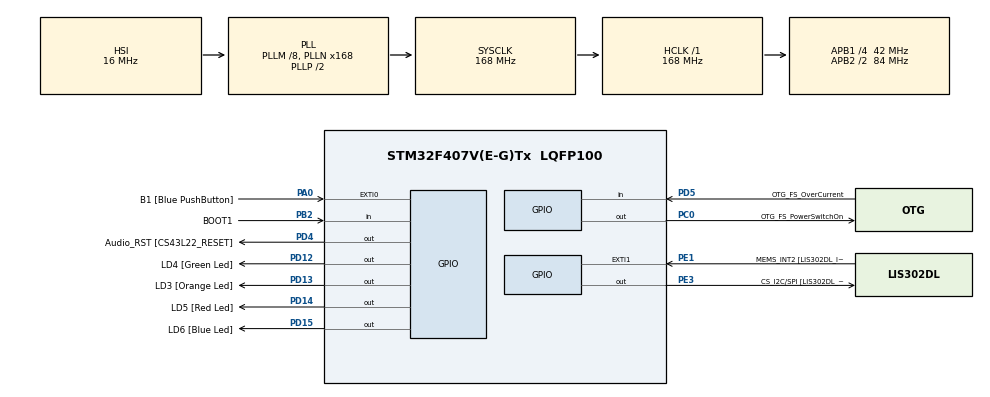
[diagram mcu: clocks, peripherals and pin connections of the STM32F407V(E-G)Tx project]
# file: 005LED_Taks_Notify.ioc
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Mcu.Family=STM32F4
Mcu.Name=STM32F407V(E-G)Tx
Mcu.Package=LQFP100
NVIC.PriorityGroup=NVIC_PRIORITYGROUP_4
NVIC.TIM6_DAC_IRQn=true\:0\:0\:false\:false\:true\:false\:true\:true
NVIC.TimeBase=TIM6_DAC_IRQn
NVIC.TimeBaseIP=TIM6
PA0-WKUP.GPIO_Label=B1 [Blue PushButton]
PA0-WKUP.Signal=GPXTI0
PA10.GPIO_Label=OTG_FS_ID
PA10.GPIO_Mode=GPIO_MODE_AF_PP
PA10.GPIO_PuPd=GPIO_NOPULL
PA10.GPIO_Speed=GPIO_SPEED_FREQ_LOW
PA10.Signal=USB_OTG_FS_ID
PA11.GPIO_Label=OTG_FS_DM
PA11.GPIO_Mode=GPIO_MODE_AF_PP
PA11.GPIO_PuPd=GPIO_NOPULL
PA11.GPIO_Speed=GPIO_SPEED_FREQ_LOW
PA11.Signal=USB_OTG_FS_DM
PA12.GPIO_Label=OTG_FS_DP
PA12.GPIO_Mode=GPIO_MODE_AF_PP
PA12.GPIO_PuPd=GPIO_NOPULL
PA12.GPIO_Speed=GPIO_SPEED_FREQ_LOW
PA12.Signal=USB_OTG_FS_DP
PA13.GPIO_Label=SWDIO
PA13.Signal=SYS_JTMS-SWDIO
PA14.GPIO_Label=SWCLK
PA14.Signal=SYS_JTCK-SWCLK
PA4.GPIO_Label=I2S3_WS [CS43L22_LRCK]
PA4.GPIO_Mode=GPIO_MODE_AF_PP
PA4.GPIO_PuPd=GPIO_NOPULL
PA4.GPIO_Speed=GPIO_SPEED_FREQ_LOW
PA4.Signal=I2S3_WS
PA5.GPIO_Label=SPI1_SCK [LIS302DL_SCL/SPC]
PA5.GPIO_Mode=GPIO_MODE_AF_PP
PA5.GPIO_PuPd=GPIO_NOPULL
PA5.GPIO_Speed=GPIO_SPEED_FREQ_LOW
PA5.Signal=SPI1_SCK
PA6.GPIO_Label=SPI1_MISO [LIS302DL_SDO]
PA6.GPIO_Mode=GPIO_MODE_AF_PP
PA6.GPIO_PuPd=GPIO_NOPULL
PA6.GPIO_Speed=GPIO_SPEED_FREQ_LOW
PA6.Signal=SPI1_MISO
PA7.GPIO_Label=SPI1_MOSI [LIS302DL_SDA/SDI/SDO]
PA7.GPIO_Mode=GPIO_MODE_AF_PP
PA7.GPIO_PuPd=GPIO_NOPULL
PA7.GPIO_Speed=GPIO_SPEED_FREQ_LOW
PA7.Signal=SPI1_MOSI
PA9.GPIO_Label=VBUS_FS
PA9.GPIO_Mode=GPIO_MODE_INPUT
PA9.GPIO_PuPd=GPIO_NOPULL
PA9.Signal=USB_OTG_FS_VBUS
PB10.GPIO_Label=CLK_IN [MP45DT02_CLK]
PB10.GPIO_Mode=GPIO_MODE_AF_PP
PB10.GPIO_PuPd=GPIO_NOPULL
PB10.GPIO_Speed=GPIO_SPEED_FREQ_LOW
PB10.Signal=I2S2_CK
PB2.GPIO_Label=BOOT1
PB2.GPIO_Mode=GPIO_MODE_INPUT
PB2.GPIO_PuPd=GPIO_NOPULL
PB2.Signal=GPIO_Input
PB3.GPIO_Label=SWO
PB3.Signal=SYS_JTDO-SWO
PB6.GPIO_Label=Audio_SCL [CS43L22_SCL]
PB6.GPIO_Mode=GPIO_MODE_AF_OD
PB6.GPIO_PuPd=GPIO_NOPULL
PB6.GPIO_Speed=GPIO_SPEED_FREQ_LOW
PB6.Signal=I2C1_SCL
PB9.GPIO_Label=Audio_SDA [CS43L22_SDA]
PB9.GPIO_Mode=GPIO_MODE_AF_OD
PB9.GPIO_PuPd=GPIO_NOPULL
PB9.GPIO_Speed=GPIO_SPEED_FREQ_LOW
PB9.Signal=I2C1_SDA
PC0.GPIO_Label=OTG_FS_PowerSwitchOn
PC0.GPIO_PuPd=GPIO_NOPULL
PC0.GPIO_Speed=GPIO_SPEED_FREQ_LOW
PC0.PinState=GPIO_PIN_SET
PC0.Signal=GPIO_Output
PC10.GPIO_Label=I2S3_SCK [CS43L22_SCLK]
PC10.GPIO_Mode=GPIO_MODE_AF_PP
PC10.GPIO_PuPd=GPIO_NOPULL
PC10.GPIO_Speed=GPIO_SPEED_FREQ_LOW
PC10.Signal=I2S3_CK
PC12.GPIO_Label=I2S3_SD [CS43L22_SDIN]
PC12.GPIO_Mode=GPIO_MODE_AF_PP
PC12.GPIO_PuPd=GPIO_NOPULL
PC12.GPIO_Speed=GPIO_SPEED_FREQ_LOW
PC12.Signal=I2S3_SD
PC14-OSC32_IN.GPIO_Label=PC14-OSC32_IN
PC14-OSC32_IN.Signal=RCC_OSC32_IN
PC15-OSC32_OUT.GPIO_Label=PC15-OSC32_OUT
PC15-OSC32_OUT.Signal=RCC_OSC32_OUT
PC3.GPIO_Label=PDM_OUT [MP45DT02_DOUT]
PC3.GPIO_Mode=GPIO_MODE_AF_PP
PC3.GPIO_PuPd=GPIO_NOPULL
PC3.GPIO_Speed=GPIO_SPEED_FREQ_LOW
PC3.Signal=I2S2_SD
PC7.GPIO_Label=I2S3_MCK [CS43L22_MCLK]
PC7.GPIO_Mode=GPIO_MODE_AF_PP
PC7.GPIO_PuPd=GPIO_NOPULL
PC7.GPIO_Speed=GPIO_SPEED_FREQ_LOW
PC7.Signal=I2S3_MCK
PD12.GPIO_Label=LD4 [Green Led]
PD12.GPIO_PuPd=GPIO_NOPULL
PD12.GPIO_Speed=GPIO_SPEED_FREQ_LOW
PD12.Signal=GPIO_Output
PD13.GPIO_Label=LD3 [Orange Led]
PD13.GPIO_PuPd=GPIO_NOPULL
PD13.GPIO_Speed=GPIO_SPEED_FREQ_LOW
PD13.Signal=GPIO_Output
PD14.GPIO_Label=LD5 [Red Led]
PD14.GPIO_PuPd=GPIO_NOPULL
PD14.GPIO_Speed=GPIO_SPEED_FREQ_LOW
PD14.Signal=GPIO_Output
PD15.GPIO_Label=LD6 [Blue Led]
PD15.GPIO_PuPd=GPIO_NOPULL
PD15.GPIO_Speed=GPIO_SPEED_FREQ_LOW
PD15.Signal=GPIO_Output
PD4.GPIO_Label=Audio_RST [CS43L22_RESET]
PD4.GPIO_PuPd=GPIO_NOPULL
PD4.GPIO_Speed=GPIO_SPEED_FREQ_LOW
PD4.Signal=GPIO_Output
PD5.GPIO_Label=OTG_FS_OverCurrent
PD5.GPIO_Mode=GPIO_MODE_INPUT
PD5.GPIO_PuPd=GPIO_NOPULL
PD5.Signal=GPIO_Input
PE1.GPIO_Label=MEMS_INT2 [LIS302DL_INT2]
PE1.GPIO_ModeDefaultEXTI=GPIO_MODE_EVT_RISING
PE1.GPIO_PuPd=GPIO_NOPULL
PE1.Signal=GPXTI1
PE3.GPIO_Label=CS_I2C/SPI [LIS302DL_CS_I2C/SPI]
PE3.GPIO_PuPd=GPIO_NOPULL
PE3.GPIO_Speed=GPIO_SPEED_FREQ_LOW
PE3.Signal=GPIO_Output
PH0-OSC_IN.GPIO_Label=PH0-OSC_IN
PH0-OSC_IN.Signal=RCC_OSC_IN
PH1-OSC_OUT.GPIO_Label=PH1-OSC_OUT
PH1-OSC_OUT.Signal=RCC_OSC_OUT
ProjectManager.HeapSize=0x200
ProjectManager.StackSize=0x400
ProjectManager.TargetToolchain=STM32CubeIDE
RCC.48MHZClocksFreq_Value=48000000
RCC.AHBFreq_Value=168000000
RCC.APB1CLKDivider=RCC_HCLK_DIV4
RCC.APB1Freq_Value=42000000
RCC.APB1TimFreq_Value=84000000
RCC.APB2CLKDivider=RCC_HCLK_DIV2
RCC.APB2Freq_Value=84000000
RCC.APB2TimFreq_Value=168000000
RCC.CortexFreq_Value=168000000
RCC.HCLKFreq_Value=168000000
RCC.HSE_VALUE=8000000
RCC.HSI_VALUE=16000000
RCC.LSE_VALUE=32768
RCC.PLLM=8
RCC.PLLN=168
RCC.PLLQ=7
RCC.SYSCLKFreq_VALUE=168000000
RCC.SYSCLKSource=RCC_SYSCLKSOURCE_PLLCLK
RCC.VCOOutputFreq_Value=336000000
VP_SYS_VS_tim6.Mode=TIM6
board=STM32F407G-DISC1

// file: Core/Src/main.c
/* USER CODE BEGIN Header */
/**
  ******************************************************************************
  * @file           : main.c
  * @brief          : Main program body
  ******************************************************************************
  * @attention
  *
  * Copyright (c) 2024 STMicroelectronics.
  * All rights reserved.
  *
  * This software is licensed under terms that can be found in the LICENSE file
  * in the root directory of this software component.
  * If no LICENSE file comes with this software, it is provided AS-IS.
  *
  ******************************************************************************
  */
/* USER CODE END Header */
#include "main.h"

/* USER CODE BEGIN Includes */
#include <stdio.h>
#include "FreeRTOS.h"
#include "task.h"
/* USER CODE END Includes */

/* USER CODE BEGIN PD */
#define DWT_CTRL	(*(volatile uint32_t*)0xE0001000)
/* USER CODE END PD */

void SystemClock_Config(void);
static void MX_GPIO_Init(void);
/* USER CODE BEGIN PFP */

static void led_green_handler(void* parameters);
static void led_red_handler(void* parameters);
static void led_orange_handler(void* parameters);
static void button_handler(void* parameters);

extern  void SEGGER_UART_init(uint32_t);

TaskHandle_t ledg_task_handle;
TaskHandle_t ledo_task_handle;
TaskHandle_t ledr_task_handle;
TaskHandle_t btn_task_handle;

TaskHandle_t volatile next_task_handle = NULL;

/* USER CODE END PFP */

int main(void)
{
  /* USER CODE BEGIN 1 */

  BaseType_t status;
  /* USER CODE END 1 */

  /* MCU Configuration--------------------------------------------------------*/

  /* Reset of all peripherals, Initializes the Flash interface and the Systick. */
  HAL_Init();

  /* Configure the system clock */
  SystemClock_Config();

  /* Initialize all configured peripherals */
  MX_GPIO_Init();
  /* USER CODE BEGIN 2 */

  DWT->CYCCNT = 0;

  DWT->CTRL |= DWT_CTRL_CYCCNTENA_Msk;

  SEGGER_UART_init(250000);

  SEGGER_SYSVIEW_Conf();

  status = xTaskCreate(led_green_handler, "LED_green_task", 200, NULL, 3, &ledg_task_handle);

  configASSERT(status == pdPASS);

  next_task_handle = ledg_task_handle;

  status = xTaskCreate(led_red_handler, "LED_red_task", 200, NULL, 1, &ledr_task_handle);

  configASSERT(status == pdPASS);

  status = xTaskCreate(led_orange_handler, "LED_orange_task", 200, NULL, 2, &ledo_task_handle);

  configASSERT(status == pdPASS);

  status = xTaskCreate(button_handler, "Button task", 200, NULL, 4, &btn_task_handle);

  configASSERT(status == pdPASS);

  vTaskStartScheduler();

  /* USER CODE END 2 */

  /* Infinite loop */
  while (1)
  {

  }
}

void SystemClock_Config(void)
{
  RCC_OscInitTypeDef RCC_OscInitStruct = {0};
  RCC_ClkInitTypeDef RCC_ClkInitStruct = {0};

  /** Configure the main internal regulator output voltage
  */
  __HAL_RCC_PWR_CLK_ENABLE();
  __HAL_PWR_VOLTAGESCALING_CONFIG(PWR_REGULATOR_VOLTAGE_SCALE1);

  /** Initializes the RCC Oscillators according to the specified parameters
  * in the RCC_OscInitTypeDef structure.
  */
  RCC_OscInitStruct.OscillatorType = RCC_OSCILLATORTYPE_HSI;
  RCC_OscInitStruct.HSIState = RCC_HSI_ON;
  RCC_OscInitStruct.HSICalibrationValue = RCC_HSICALIBRATION_DEFAULT;
  RCC_OscInitStruct.PLL.PLLState = RCC_PLL_ON;
  RCC_OscInitStruct.PLL.PLLSource = RCC_PLLSOURCE_HSI;
  RCC_OscInitStruct.PLL.PLLM = 8;
  RCC_OscInitStruct.PLL.PLLN = 168;
  RCC_OscInitStruct.PLL.PLLP = RCC_PLLP_DIV2;
  RCC_OscInitStruct.PLL.PLLQ = 7;
  if (HAL_RCC_OscConfig(&RCC_OscInitStruct) != HAL_OK)
  {
    Error_Handler();
  }

  /** Initializes the CPU, AHB and APB buses clocks
  */
  RCC_ClkInitStruct.ClockType = RCC_CLOCKTYPE_HCLK|RCC_CLOCKTYPE_SYSCLK
                              |RCC_CLOCKTYPE_PCLK1|RCC_CLOCKTYPE_PCLK2;
  RCC_ClkInitStruct.SYSCLKSource = RCC_SYSCLKSOURCE_PLLCLK;
  RCC_ClkInitStruct.AHBCLKDivider = RCC_SYSCLK_DIV1;
  RCC_ClkInitStruct.APB1CLKDivider = RCC_HCLK_DIV4;
  RCC_ClkInitStruct.APB2CLKDivider = RCC_HCLK_DIV2;

  if (HAL_RCC_ClockConfig(&RCC_ClkInitStruct, FLASH_LATENCY_5) != HAL_OK)
  {
    Error_Handler();
  }
}

static void MX_GPIO_Init(void)
{
  GPIO_InitTypeDef GPIO_InitStruct = {0};

  /* GPIO Ports Clock Enable */
  __HAL_RCC_GPIOE_CLK_ENABLE();
  __HAL_RCC_GPIOC_CLK_ENABLE();
  __HAL_RCC_GPIOH_CLK_ENABLE();
  __HAL_RCC_GPIOA_CLK_ENABLE();
  __HAL_RCC_GPIOB_CLK_ENABLE();
  __HAL_RCC_GPIOD_CLK_ENABLE();

  /*Configure GPIO pin Output Level */
  HAL_GPIO_WritePin(CS_I2C_SPI_GPIO_Port, CS_I2C_SPI_Pin, GPIO_PIN_RESET);

  /*Configure GPIO pin Output Level */
  HAL_GPIO_WritePin(OTG_FS_PowerSwitchOn_GPIO_Port, OTG_FS_PowerSwitchOn_Pin, GPIO_PIN_SET);

  /*Configure GPIO pin Output Level */
  HAL_GPIO_WritePin(GPIOD, LD4_Pin|LD3_Pin|LD5_Pin|LD6_Pin
                          |Audio_RST_Pin, GPIO_PIN_RESET);

  /*Configure GPIO pin : CS_I2C_SPI_Pin */
  GPIO_InitStruct.Pin = CS_I2C_SPI_Pin;
  GPIO_InitStruct.Mode = GPIO_MODE_OUTPUT_PP;
  GPIO_InitStruct.Pull = GPIO_NOPULL;
  GPIO_InitStruct.Speed = GPIO_SPEED_FREQ_LOW;
  HAL_GPIO_Init(CS_I2C_SPI_GPIO_Port, &GPIO_InitStruct);

  /*Configure GPIO pin : OTG_FS_PowerSwitchOn_Pin */
  GPIO_InitStruct.Pin = OTG_FS_PowerSwitchOn_Pin;
  GPIO_InitStruct.Mode = GPIO_MODE_OUTPUT_PP;
  GPIO_InitStruct.Pull = GPIO_NOPULL;
  GPIO_InitStruct.Speed = GPIO_SPEED_FREQ_LOW;
  HAL_GPIO_Init(OTG_FS_PowerSwitchOn_GPIO_Port, &GPIO_InitStruct);

  /*Configure GPIO pin : PDM_OUT_Pin */
  GPIO_InitStruct.Pin = PDM_OUT_Pin;
  GPIO_InitStruct.Mode = GPIO_MODE_AF_PP;
  GPIO_InitStruct.Pull = GPIO_NOPULL;
  GPIO_InitStruct.Speed = GPIO_SPEED_FREQ_LOW;
  GPIO_InitStruct.Alternate = GPIO_AF5_SPI2;
  HAL_GPIO_Init(PDM_OUT_GPIO_Port, &GPIO_InitStruct);

  /*Configure GPIO pin : B1_Pin */
  GPIO_InitStruct.Pin = B1_Pin;
  GPIO_InitStruct.Mode = GPIO_MODE_IT_RISING;
  GPIO_InitStruct.Pull = GPIO_NOPULL;
  HAL_GPIO_Init(B1_GPIO_Port, &GPIO_InitStruct);

  /*Configure GPIO pin : I2S3_WS_Pin */
  GPIO_InitStruct.Pin = I2S3_WS_Pin;
  GPIO_InitStruct.Mode = GPIO_MODE_AF_PP;
  GPIO_InitStruct.Pull = GPIO_NOPULL;
  GPIO_InitStruct.Speed = GPIO_SPEED_FREQ_LOW;
  GPIO_InitStruct.Alternate = GPIO_AF6_SPI3;
  HAL_GPIO_Init(I2S3_WS_GPIO_Port, &GPIO_InitStruct);

  /*Configure GPIO pins : SPI1_SCK_Pin SPI1_MISO_Pin SPI1_MOSI_Pin */
  GPIO_InitStruct.Pin = SPI1_SCK_Pin|SPI1_MISO_Pin|SPI1_MOSI_Pin;
  GPIO_InitStruct.Mode = GPIO_MODE_AF_PP;
  GPIO_InitStruct.Pull = GPIO_NOPULL;
  GPIO_InitStruct.Speed = GPIO_SPEED_FREQ_LOW;
  GPIO_InitStruct.Alternate = GPIO_AF5_SPI1;
  HAL_GPIO_Init(GPIOA, &GPIO_InitStruct);

  /*Configure GPIO pin : BOOT1_Pin */
  GPIO_InitStruct.Pin = BOOT1_Pin;
  GPIO_InitStruct.Mode = GPIO_MODE_INPUT;
  GPIO_InitStruct.Pull = GPIO_NOPULL;
  HAL_GPIO_Init(BOOT1_GPIO_Port, &GPIO_InitStruct);

  /*Configure GPIO pin : CLK_IN_Pin */
  GPIO_InitStruct.Pin = CLK_IN_Pin;
  GPIO_InitStruct.Mode = GPIO_MODE_AF_PP;
  GPIO_InitStruct.Pull = GPIO_NOPULL;
  GPIO_InitStruct.Speed = GPIO_SPEED_FREQ_LOW;
  GPIO_InitStruct.Alternate = GPIO_AF5_SPI2;
  HAL_GPIO_Init(CLK_IN_GPIO_Port, &GPIO_InitStruct);

  /*Configure GPIO pins : LD4_Pin LD3_Pin LD5_Pin LD6_Pin
                           Audio_RST_Pin */
  GPIO_InitStruct.Pin = LD4_Pin|LD3_Pin|LD5_Pin|LD6_Pin
                          |Audio_RST_Pin;
  GPIO_InitStruct.Mode = GPIO_MODE_OUTPUT_PP;
  GPIO_InitStruct.Pull = GPIO_NOPULL;
  GPIO_InitStruct.Speed = GPIO_SPEED_FREQ_LOW;
  HAL_GPIO_Init(GPIOD, &GPIO_InitStruct);

  /*Configure GPIO pins : I2S3_MCK_Pin I2S3_SCK_Pin I2S3_SD_Pin */
  GPIO_InitStruct.Pin = I2S3_MCK_Pin|I2S3_SCK_Pin|I2S3_SD_Pin;
  GPIO_InitStruct.Mode = GPIO_MODE_AF_PP;
  GPIO_InitStruct.Pull = GPIO_NOPULL;
  GPIO_InitStruct.Speed = GPIO_SPEED_FREQ_LOW;
  GPIO_InitStruct.Alternate = GPIO_AF6_SPI3;
  HAL_GPIO_Init(GPIOC, &GPIO_InitStruct);

  /*Configure GPIO pin : VBUS_FS_Pin */
  GPIO_InitStruct.Pin = VBUS_FS_Pin;
  GPIO_InitStruct.Mode = GPIO_MODE_INPUT;
  GPIO_InitStruct.Pull = GPIO_NOPULL;
  HAL_GPIO_Init(VBUS_FS_GPIO_Port, &GPIO_InitStruct);

  /*Configure GPIO pins : OTG_FS_ID_Pin OTG_FS_DM_Pin OTG_FS_DP_Pin */
  GPIO_InitStruct.Pin = OTG_FS_ID_Pin|OTG_FS_DM_Pin|OTG_FS_DP_Pin;
  GPIO_InitStruct.Mode = GPIO_MODE_AF_PP;
  GPIO_InitStruct.Pull = GPIO_NOPULL;
  GPIO_InitStruct.Speed = GPIO_SPEED_FREQ_LOW;
  GPIO_InitStruct.Alternate = GPIO_AF10_OTG_FS;
  HAL_GPIO_Init(GPIOA, &GPIO_InitStruct);

  /*Configure GPIO pin : OTG_FS_OverCurrent_Pin */
  GPIO_InitStruct.Pin = OTG_FS_OverCurrent_Pin;
  GPIO_InitStruct.Mode = GPIO_MODE_INPUT;
  GPIO_InitStruct.Pull = GPIO_NOPULL;
  HAL_GPIO_Init(OTG_FS_OverCurrent_GPIO_Port, &GPIO_InitStruct);

  /*Configure GPIO pins : Audio_SCL_Pin Audio_SDA_Pin */
  GPIO_InitStruct.Pin = Audio_SCL_Pin|Audio_SDA_Pin;
  GPIO_InitStruct.Mode = GPIO_MODE_AF_OD;
  GPIO_InitStruct.Pull = GPIO_NOPULL;
  GPIO_InitStruct.Speed = GPIO_SPEED_FREQ_LOW;
  GPIO_InitStruct.Alternate = GPIO_AF4_I2C1;
  HAL_GPIO_Init(GPIOB, &GPIO_InitStruct);

  /*Configure GPIO pin : MEMS_INT2_Pin */
  GPIO_InitStruct.Pin = MEMS_INT2_Pin;
  GPIO_InitStruct.Mode = GPIO_MODE_EVT_RISING;
  GPIO_InitStruct.Pull = GPIO_NOPULL;
  HAL_GPIO_Init(MEMS_INT2_GPIO_Port, &GPIO_InitStruct);

}

/* USER CODE BEGIN 4 */

static void led_green_handler(void* parameters)
{
	BaseType_t status;

	while(1) {
		SEGGER_SYSVIEW_PrintfTarget("Toggling green LED");
		HAL_GPIO_TogglePin(GPIOD, LED_GREEN_PIN);
		status = xTaskNotifyWait(0, 0, NULL, pdMS_TO_TICKS(1000));

		if (status == pdTRUE) {
			vTaskSuspendAll();
			next_task_handle = ledo_task_handle;
			xTaskResumeAll();
			HAL_GPIO_WritePin(GPIOD, LED_GREEN_PIN, GPIO_PIN_SET);
			SEGGER_SYSVIEW_PrintfTarget("Delete green LED");
			vTaskSuspend(NULL);
			//vTaskDelete(NULL);
		}
	}
}

static void led_orange_handler(void* parameters)
{
	BaseType_t status;

	while(1) {
		SEGGER_SYSVIEW_PrintfTarget("Toggling orange LED");
		HAL_GPIO_TogglePin(GPIOD, LED_ORANGE_PIN);
		status = xTaskNotifyWait(0, 0, NULL, pdMS_TO_TICKS(800));

		if (status == pdTRUE) {
			vTaskSuspendAll();
			next_task_handle = ledr_task_handle;
			xTaskResumeAll();
			HAL_GPIO_WritePin(GPIOD, LED_ORANGE_PIN, GPIO_PIN_SET);
			SEGGER_SYSVIEW_PrintfTarget("Delete orange LED");
			vTaskSuspend(NULL);
			//vTaskDelete(NULL);
		}
	}
}

static void led_red_handler(void* parameters)
{
	BaseType_t status;

	while(1) {
		SEGGER_SYSVIEW_PrintfTarget("Toggling red LED");
		HAL_GPIO_TogglePin(GPIOD, LED_RED_PIN);
		status = xTaskNotifyWait(0, 0, NULL, pdMS_TO_TICKS(400));

		if (status == pdTRUE) {
			vTaskSuspendAll();
			next_task_handle = NULL;
			xTaskResumeAll();
			HAL_GPIO_WritePin(GPIOD, LED_RED_PIN, GPIO_PIN_SET);
			SEGGER_SYSVIEW_PrintfTarget("Delete red LED");
			vTaskSuspend(NULL);
			//vTaskDelete(btn_task_handle);
			//vTaskDelete(NULL);
		}
	}
}

static void button_handler(void* parameters)
{
	uint8_t btn_read = 0;
	uint8_t prev_read = 0;

	while(1) {
		btn_read = HAL_GPIO_ReadPin(GPIOA, GPIO_PIN_0);

		if (btn_read) {
			if (! prev_read) {

				if (next_task_handle == NULL) {
					next_task_handle = ledg_task_handle;
					vTaskResume(ledg_task_handle);
					vTaskResume(ledo_task_handle);
					vTaskResume(ledr_task_handle);
				} else {
					xTaskNotify(next_task_handle, 0, eNoAction);
				}

			}
		}

		prev_read = btn_read;
		vTaskDelay(pdMS_TO_TICKS(10));
	}
}

/* USER CODE END 4 */

void HAL_TIM_PeriodElapsedCallback(TIM_HandleTypeDef *htim)
{
  if (htim->Instance == TIM6) {
    HAL_IncTick();
  }
}

void Error_Handler(void)
{
  __disable_irq();
  while (1)
  {
  }
}
